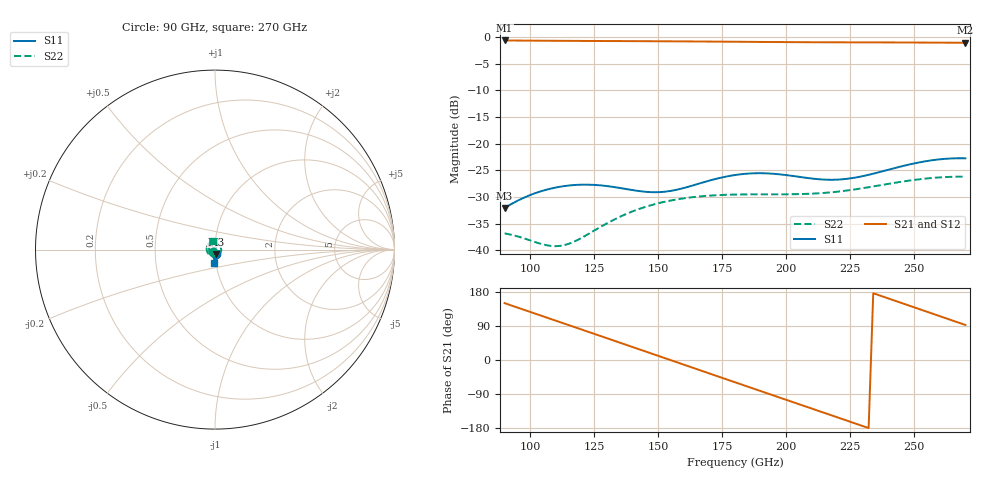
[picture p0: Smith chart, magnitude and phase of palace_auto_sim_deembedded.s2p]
! Created with skrf 1.11.0 (http://scikit-rf.org).
# GHz S DB R 50.0
!freq dBS11 angS11 dBS21 angS21 dBS12 angS12 dBS22 angS22
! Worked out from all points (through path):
!   101 points, 90 GHz to 270 GHz, reference 50 ohm
!   highest |S21| = -0.68 dB at 90 GHz (marker M1); lowest = -1.1 dB at 270 GHz (marker M2)
!   group delay of S21, straight-line fit = 6.44 ps
!   lowest |S11| = -32.1 dB at 90 GHz (marker M3), VSWR 1.05, Z = 50.7 - j2.4 ohm
!   |S11| at or under -10 dB: start of sweep to end of sweep
!   |S22| runs from -39.2 to -26.2 dB; largest |S21 - S12| = 1.1e-14
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90  -32.07 -71.6  -0.68 150.0  -0.68 150.0  -36.82 -130.6
99  -29.83 -74.3  -0.72 129.2  -0.72 129.2  -37.97 -168.8
106.2  -28.65 -79.5  -0.74 112.5  -0.74 112.5  -39.02 151.0
113.4  -27.95 -85.7  -0.76 95.9  -0.76 95.9  -39.00 103.8
120.6  -27.69 -91.7  -0.77 79.2  -0.77 79.2  -37.52 58.7
127.8  -27.84 -96.6  -0.79 62.5  -0.79 62.5  -35.52 20.7
136.8  -28.46 -99.2  -0.80 41.6  -0.80 41.6  -33.33 -19.8
151.2  -29.07 -91.8  -0.84 8.2  -0.84 8.2  -31.04 -78.7
158.4  -28.51 -86.5  -0.86 -8.5  -0.86 -8.5  -30.37 -107.8
165.6  -27.54 -84.1  -0.88 -25.3  -0.88 -25.3  -29.93 -137.3
180  -25.89 -88.3  -0.93 -58.7  -0.93 -58.7  -29.55 161.4
187.2  -25.57 -92.4  -0.95 -75.4  -0.95 -75.4  -29.50 129.4
194.4  -25.63 -96.1  -0.97 -92.1  -0.97 -92.1  -29.50 96.2
201.6  -26.00 -98.0  -1.00 -108.8  -1.00 -108.8  -29.49 62.0
210.6  -26.58 -96.4  -1.02 -129.6  -1.02 -129.6  -29.36 17.8
219.6  -26.76 -90.8  -1.03 -150.4  -1.03 -150.4  -29.03 -27.4
226.8  -26.38 -85.8  -1.04 -167.1  -1.04 -167.1  -28.58 -63.3
234  -25.64 -82.2  -1.05 176.2  -1.05 176.2  -28.03 -98.3
241.2  -24.74 -81.0  -1.06 159.4  -1.06 159.4  -27.44 -132.1
248.4  -23.88 -82.2  -1.07 142.7  -1.07 142.7  -26.91 -164.6
257.4  -23.09 -86.0  -1.09 121.8  -1.09 121.8  -26.42 156.1
270  -22.76 -92.9  -1.12 92.5  -1.12 92.5  -26.20 101.8
